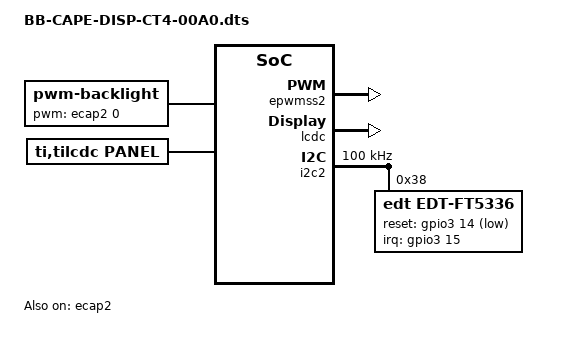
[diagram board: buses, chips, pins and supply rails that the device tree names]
/*
 * Copyright (C) 2012 Texas Instruments Incorporated - http://www.ti.com/
 *
 * This program is free software; you can redistribute it and/or modify
 * it under the terms of the GNU General Public License version 2 as
 * published by the Free Software Foundation.
 */

/dts-v1/;
/plugin/;

#include <dt-bindings/gpio/gpio.h>
#include <dt-bindings/pinctrl/am33xx.h>

/ {
	/*
	 * Helper to show loaded overlays under: /proc/device-tree/chosen/overlays/
	 */
	fragment@0 {
		target-path="/";
		__overlay__ {

			chosen {
				overlays {
					BB-CAPE-DISP-CT4-00A0 = __TIMESTAMP__;
				};
			};
		};
	};

	/*
	 * Free up the pins used by the cape from the pinmux helpers.
	 */
	fragment@1 {
		target = <&ocp>;
		__overlay__ {
			P8_45_pinmux { status = "disabled"; };	/* lcd: lcd_data0 */
			P8_46_pinmux { status = "disabled"; };	/* lcd: lcd_data1 */
			P8_43_pinmux { status = "disabled"; };	/* lcd: lcd_data2 */
			P8_44_pinmux { status = "disabled"; };	/* lcd: lcd_data3 */
			P8_41_pinmux { status = "disabled"; };	/* lcd: lcd_data4 */
			P8_42_pinmux { status = "disabled"; };	/* lcd: lcd_data5 */
			P8_39_pinmux { status = "disabled"; };	/* lcd: lcd_data6 */
			P8_40_pinmux { status = "disabled"; };	/* lcd: lcd_data7 */
			P8_37_pinmux { status = "disabled"; };	/* lcd: lcd_data8 */
			P8_38_pinmux { status = "disabled"; };	/* lcd: lcd_data9 */
			P8_36_pinmux { status = "disabled"; };	/* lcd: lcd_data10 */
			P8_34_pinmux { status = "disabled"; };	/* lcd: lcd_data11 */
			P8_35_pinmux { status = "disabled"; };	/* lcd: lcd_data12 */
			P8_33_pinmux { status = "disabled"; };	/* lcd: lcd_data13 */
			P8_31_pinmux { status = "disabled"; };	/* lcd: lcd_data14 */
			P8_32_pinmux { status = "disabled"; };	/* lcd: lcd_data15 */

			P8_27_pinmux { status = "disabled"; };	/* lcd: lcd_vsync */
			P8_29_pinmux { status = "disabled"; };	/* lcd: lcd_hsync */
			P8_28_pinmux { status = "disabled"; };	/* lcd: lcd_pclk */
			P8_30_pinmux { status = "disabled"; };	/* lcd: lcd_ac_bias_en */

			P9_28_pinmux { status = "disabled"; };	/* pwm: eCAP2_in_PWM2_out */

			P9_29_pinmux { status = "disabled"; };	/* ft5336: gpio3_15 */
			P9_31_pinmux { status = "disabled"; };	/* ft5336: gpio3_14 */
		};
	};

	fragment@2 {
		target = <&am33xx_pinmux>;
		__overlay__ {

			bb_lcd_pwm_backlight_pins: pinmux_bb_lcd_pwm_backlight_pins {
				pinctrl-single,pins = <
					0x19C (PIN_OUTPUT_PULLDOWN | MUX_MODE4) /* mcasp0_ahclkr.eCAP2_in_PWM2_out */
				>;
			};

			bb_lcd_lcd_pins: pinmux_bb_lcd_lcd_pins {
				pinctrl-single,pins = <
					0x0A0 (PIN_OUTPUT | MUX_MODE0) /* lcd: lcd_data0.lcd_data0 */
					0x0A4 (PIN_OUTPUT | MUX_MODE0) /* lcd: lcd_data1.lcd_data1 */
					0x0A8 (PIN_OUTPUT | MUX_MODE0) /* lcd: lcd_data2.lcd_data2 */
					0x0AC (PIN_OUTPUT | MUX_MODE0) /* lcd: lcd_data3.lcd_data3 */
					0x0B0 (PIN_OUTPUT | MUX_MODE0) /* lcd: lcd_data4.lcd_data4 */
					0x0B4 (PIN_OUTPUT | MUX_MODE0) /* lcd: lcd_data5.lcd_data5 */
					0x0B8 (PIN_OUTPUT | MUX_MODE0) /* lcd: lcd_data6.lcd_data6 */
					0x0BC (PIN_OUTPUT | MUX_MODE0) /* lcd: lcd_data7.lcd_data7 */
					0x0C0 (PIN_OUTPUT | MUX_MODE0) /* lcd: lcd_data8.lcd_data8 */
					0x0C4 (PIN_OUTPUT | MUX_MODE0) /* lcd: lcd_data9.lcd_data9 */
					0x0C8 (PIN_OUTPUT | MUX_MODE0) /* lcd: lcd_data10.lcd_data10 */
					0x0CC (PIN_OUTPUT | MUX_MODE0) /* lcd: lcd_data11.lcd_data11 */
					0x0D0 (PIN_OUTPUT | MUX_MODE0) /* lcd: lcd_data12.lcd_data12 */
					0x0D4 (PIN_OUTPUT | MUX_MODE0) /* lcd: lcd_data13.lcd_data13 */
					0x0D8 (PIN_OUTPUT | MUX_MODE0) /* lcd: lcd_data14.lcd_data14 */
					0x0DC (PIN_OUTPUT | MUX_MODE0) /* lcd: lcd_data15.lcd_data15 */

					0x0E0 (PIN_OUTPUT | MUX_MODE0) /* lcd: lcd_vsync.lcd_vsync */
					0x0E4 (PIN_OUTPUT | MUX_MODE0) /* lcd: lcd_hsync.lcd_hsync */
					0x0E8 (PIN_OUTPUT | MUX_MODE0) /* lcd: lcd_pclk.lcd_pclk */
					0x0EC (PIN_OUTPUT | MUX_MODE0) /* lcd: lcd_ac_bias_en.lcd_ac_bias_en */
				>;
			};

			edt_ft5336_ts_pins: pinmux_edt_ft5336_ts_pins {
				pinctrl-single,pins = <
					0x194 (PIN_INPUT_PULLDOWN | MUX_MODE7) /* mcasp0_fsx.gpio3_15 */
					0x190 (PIN_INPUT_PULLDOWN | MUX_MODE7) /* mcasp0_aclkx.gpio3_14 */
				>;
			};
		};
	};

	fragment@3 {
		target = <&epwmss2>;
		__overlay__ {
			status = "okay";
		};
	};

	fragment@4 {
		target = <&ecap2>;
		__overlay__ {
			pinctrl-names = "default";
			pinctrl-0 = <&bb_lcd_pwm_backlight_pins>;
			status = "okay";
		};
	};

	fragment@5 {
		target = <&lcdc>;
		__overlay__ {
			status = "okay";
		};
	};

	fragment@6 {
		target = <&i2c2>;
		__overlay__ {
			status = "okay";

			/* this is the configuration part */
			clock-frequency = <100000>;

			#address-cells = <1>;
			#size-cells = <0>;

			edt-ft5336@38 {
				status = "okay";
				compatible = "edt,edt-ft5336", "edt,edt-ft5306", "edt,edt-ft5x06";
				pinctrl-names = "default";
				pinctrl-0 = <&edt_ft5336_ts_pins>;

				reg = <0x38>;
				interrupt-parent = <&gpio3>;
				interrupts = <15 0>;
				reset-gpios = <&gpio3 14 GPIO_ACTIVE_LOW>;

				touchscreen-size-x = <272>;
				touchscreen-size-y = <480>;
				touchscreen-swapped-x-y;
			};
		};
	};

	fragment@7 {
		target-path="/";
		__overlay__ {
			backlight {
				status = "okay";
				compatible = "pwm-backlight";
				pwms = <&ecap2 0 500000 0>;
				brightness-levels = <
					0  1  2  3  4  5  6  7  8  9
					10 11 12 13 14 15 16 17 18 19
					20 21 22 23 24 25 26 27 28 29
					30 31 32 33 34 35 36 37 38 39
					40 41 42 43 44 45 46 47 48 49
					50 51 52 53 54 55 56 57 58 59
					60 61 62 63 64 65 66 67 68 69
					70 71 72 73 74 75 76 77 78 79
					80 81 82 83 84 85 86 87 88 89
					90 91 92 93 94 95 96 97 98 99
					100
				>;
				default-brightness-level = <50>;
			};

			panel {
				status = "okay";
				compatible = "ti,tilcdc,panel";
				pinctrl-names = "default";
				pinctrl-0 = <&bb_lcd_lcd_pins>;
				panel-info {
					ac-bias           = <255>;
					ac-bias-intrpt    = <0>;
					dma-burst-sz      = <16>;
					bpp               = <16>;
					fdd               = <0x80>;
					tft-alt-mode      = <0>;
					stn-565-mode      = <0>;
					mono-8bit-mode    = <0>;
					sync-edge         = <0>;
					sync-ctrl         = <1>;
					raster-order      = <0>;
					fifo-th           = <0>;
				};
				/* ILI6480 */
				display-timings {
					native-mode = <&timing0>;
					timing0: 480x272 {
						clock-frequency = <9000000>;
						hactive = <480>;
						vactive = <272>;
						hfront-porch = <5>;
						hback-porch = <40>;
						hsync-len = <1>;
						vback-porch = <8>;
						vfront-porch = <8>;
						vsync-len = <1>;
						hsync-active = <0>;
						vsync-active  = <0>;
					};
				};
			};
		};
	};
};
